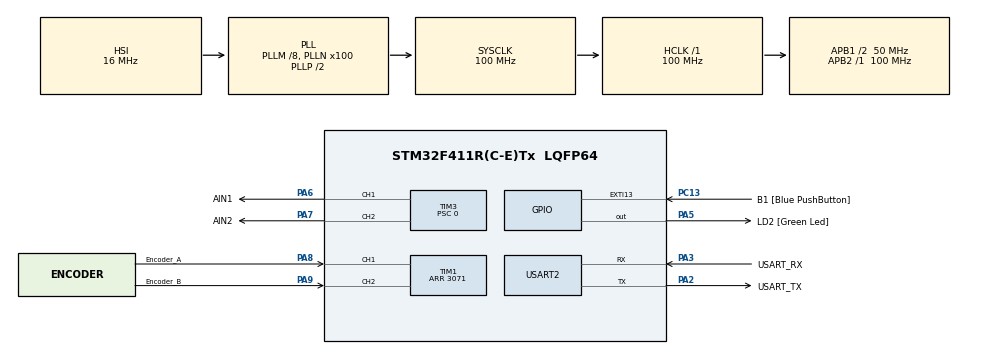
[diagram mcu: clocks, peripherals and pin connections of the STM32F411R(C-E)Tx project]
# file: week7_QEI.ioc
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Mcu.Family=STM32F4
RCC.CortexFreq_Value=100000000
PA14.GPIO_Label=TCK
TIM1.EncoderMode=TIM_ENCODERMODE_TI12
PA6.GPIO_Label=AIN1
RCC.SYSCLKSource=RCC_SYSCLKSOURCE_PLLCLK
ProjectManager.StackSize=0x400
PH0\ -\ OSC_IN.Signal=RCC_OSC_IN
RCC.HCLKFreq_Value=100000000
RCC.APB2TimFreq_Value=100000000
TIM3.Period=10000
RCC.AHBFreq_Value=100000000
TIM3.Channel-PWM\ Generation1\ CH1=TIM_CHANNEL_1
RCC.HSE_VALUE=8000000
PC13-ANTI_TAMP.Signal=GPXTI13
PC14-OSC32_IN.Mode=LSE-External-Oscillator
PA14.Mode=Serial_Wire
TIM3.Prescaler=0
NVIC.TIM2_IRQn=true\:0\:0\:false\:false\:true\:true\:true
PA8.Signal=S_TIM1_CH1
SH.S_TIM3_CH1.0=TIM3_CH1,PWM Generation1 CH1
RCC.FLatency-AdvancedSettings=FLASH_LATENCY_3
Mcu.Package=LQFP64
TIM2.Prescaler=99
PA6.Signal=S_TIM3_CH1
USART2.VirtualMode=VM_ASYNC
PA2.GPIO_Label=USART_TX
RCC.APB1TimFreq_Value=100000000
TIM3.Pulse-PWM\ Generation2\ CH2=5000
TIM1.Period=3071
VP_TIM3_VS_ClockSourceINT.Mode=Internal
PA3.Signal=USART2_RX
PB3.GPIO_Label=SWO
PC15-OSC32_OUT.Mode=LSE-External-Oscillator
PC13-ANTI_TAMP.GPIO_Label=B1 [Blue PushButton]
PA9.GPIO_Label=Encoder_B
PH1\ -\ OSC_OUT.Mode=HSE-External-Clock-Source
RCC.APB1CLKDivider=RCC_HCLK_DIV2
PC14-OSC32_IN.Signal=RCC_OSC32_IN
PA13.Signal=SYS_JTMS-SWDIO
PA3.Mode=Asynchronous
PH0\ -\ OSC_IN.Mode=HSE-External-Clock-Source
PA8.GPIO_Label=Encoder_A
TIM3.Pulse-PWM\ Generation1\ CH1=5000
SH.S_TIM1_CH1.0=TIM1_CH1,Encoder_Interface
ProjectManager.TargetToolchain=STM32CubeIDE
PA9.Signal=S_TIM1_CH2
PC15-OSC32_OUT.Signal=RCC_OSC32_OUT
PA5.Signal=GPIO_Output
SH.S_TIM3_CH2.0=TIM3_CH2,PWM Generation2 CH2
PH1\ -\ OSC_OUT.Signal=RCC_OSC_OUT
board=NUCLEO-F411RE
RCC.VCOOutputFreq_Value=200000000
RCC.APB2Freq_Value=100000000
SH.S_TIM1_CH2.0=TIM1_CH2,Encoder_Interface
VP_TIM2_VS_ClockSourceINT.Mode=Internal
PA13.Mode=Serial_Wire
Mcu.Name=STM32F411R(C-E)Tx
PA13.GPIO_Label=TMS
PA2.Signal=USART2_TX
RCC.48MHZClocksFreq_Value=50000000
PB3.Signal=SYS_JTDO-SWO
RCC.SYSCLKFreq_VALUE=100000000
PA7.GPIO_Label=AIN2
PA5.GPIO_Label=LD2 [Green Led]
PC13-ANTI_TAMP.GPIO_ModeDefaultEXTI=GPIO_MODE_IT_FALLING
PA14.Signal=SYS_JTCK-SWCLK
ProjectManager.HeapSize=0x200
RCC.HSI_VALUE=16000000
NVIC.PriorityGroup=NVIC_PRIORITYGROUP_0
TIM3.Channel-PWM\ Generation2\ CH2=TIM_CHANNEL_2
RCC.PLLM=8
RCC.PLLN=100
PA2.Mode=Asynchronous
RCC.APB1Freq_Value=50000000
PA3.GPIO_Label=USART_RX
PA7.Signal=S_TIM3_CH2

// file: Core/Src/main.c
/* USER CODE BEGIN Header */
/**
 ******************************************************************************
 * @file           : main.c
 * @brief          : Main program body
 ******************************************************************************
 * @attention
 *
 * <h2><center>&copy; Copyright (c) 2021 STMicroelectronics.
 * All rights reserved.</center></h2>
 *
 * This software component is licensed by ST under BSD 3-Clause license,
 * the "License"; You may not use this file except in compliance with the
 * License. You may obtain a copy of the License at:
 *                        opensource.org/licenses/BSD-3-Clause
 *
 ******************************************************************************
 */
/* USER CODE END Header */
#include "main.h"

TIM_HandleTypeDef htim1;
TIM_HandleTypeDef htim2;
TIM_HandleTypeDef htim3;

UART_HandleTypeDef huart2;

/* USER CODE BEGIN PV */
uint64_t _micros = 0;
float EncoderVel = 0;  // pulse per sec
uint64_t TimeOutputLoop = 0;
float PulsePerRound = 3072;

//control
float Error = 0;
float WantedRPM = 0;
float Kp = 0;  //50
float Ki = 0;  //0.2
float Kd = 0;  //5
float dt = 0.001;
float OutputRPM = 0;
int16_t PWMOut = 10000;
float Integral = 0;	   //sum of error
float Diff = 0;        //error difference
float Prev_Error = 0;  //last error

/* USER CODE END PV */

void SystemClock_Config(void);
static void MX_GPIO_Init(void);
static void MX_USART2_UART_Init(void);
static void MX_TIM1_Init(void);
static void MX_TIM2_Init(void);
static void MX_TIM3_Init(void);
/* USER CODE BEGIN PFP */
uint64_t micros();
float EncoderVelocity_Update();

/* USER CODE END PFP */

int main(void)
{

  /* MCU Configuration--------------------------------------------------------*/

  /* Reset of all peripherals, Initializes the Flash interface and the Systick. */
  HAL_Init();

  /* Configure the system clock */
  SystemClock_Config();

  /* Initialize all configured peripherals */
  MX_GPIO_Init();
  MX_USART2_UART_Init();
  MX_TIM1_Init();
  MX_TIM2_Init();
  MX_TIM3_Init();
  /* USER CODE BEGIN 2 */
	HAL_TIM_Base_Start_IT(&htim2);
	HAL_TIM_Encoder_Start(&htim1, TIM_CHANNEL_ALL);
	//Start TIM3
	HAL_TIM_Base_Start(&htim3);
	HAL_TIM_PWM_Start(&htim3, TIM_CHANNEL_1);  // start AIN1
	HAL_TIM_PWM_Start(&htim3, TIM_CHANNEL_2);  // start AIN2

  /* USER CODE END 2 */

  /* Infinite loop */
	while (1)
	{

    /* USER CODE BEGIN 3 */

	if (micros() - TimeOutputLoop >= 1000)//uS
		{

			TimeOutputLoop = micros();

			EncoderVel = (EncoderVel*99 + EncoderVelocity_Update()) / 100.0;
			OutputRPM = (EncoderVel*60)/PulsePerRound;

			Error = WantedRPM - OutputRPM;
			Integral = Integral + Error;
			Diff = Error - Prev_Error;
			Prev_Error = Error;

			PWMOut = (Kp*Error) + (Ki*Integral) + (Kd*Diff);

			if (PWMOut < 0)
			{
				__HAL_TIM_SET_COMPARE(&htim3, TIM_CHANNEL_1, 0);        //AIN1
				__HAL_TIM_SET_COMPARE(&htim3, TIM_CHANNEL_2, -PWMOut);  //AIN2
			}

			else if (PWMOut >= 0)
			{
				__HAL_TIM_SET_COMPARE(&htim3, TIM_CHANNEL_1, PWMOut);  //AIN1
				__HAL_TIM_SET_COMPARE(&htim3, TIM_CHANNEL_2, 0);       //AIN2
			}
//   */

		}
//  */

	}
  /* USER CODE END 3 */
}

void SystemClock_Config(void)
{
  RCC_OscInitTypeDef RCC_OscInitStruct = {0};
  RCC_ClkInitTypeDef RCC_ClkInitStruct = {0};

  /** Configure the main internal regulator output voltage
  */
  __HAL_RCC_PWR_CLK_ENABLE();
  __HAL_PWR_VOLTAGESCALING_CONFIG(PWR_REGULATOR_VOLTAGE_SCALE1);
  /** Initializes the RCC Oscillators according to the specified parameters
  * in the RCC_OscInitTypeDef structure.
  */
  RCC_OscInitStruct.OscillatorType = RCC_OSCILLATORTYPE_HSI;
  RCC_OscInitStruct.HSIState = RCC_HSI_ON;
  RCC_OscInitStruct.HSICalibrationValue = RCC_HSICALIBRATION_DEFAULT;
  RCC_OscInitStruct.PLL.PLLState = RCC_PLL_ON;
  RCC_OscInitStruct.PLL.PLLSource = RCC_PLLSOURCE_HSI;
  RCC_OscInitStruct.PLL.PLLM = 8;
  RCC_OscInitStruct.PLL.PLLN = 100;
  RCC_OscInitStruct.PLL.PLLP = RCC_PLLP_DIV2;
  RCC_OscInitStruct.PLL.PLLQ = 4;
  if (HAL_RCC_OscConfig(&RCC_OscInitStruct) != HAL_OK)
  {
    Error_Handler();
  }
  /** Initializes the CPU, AHB and APB buses clocks
  */
  RCC_ClkInitStruct.ClockType = RCC_CLOCKTYPE_HCLK|RCC_CLOCKTYPE_SYSCLK
                              |RCC_CLOCKTYPE_PCLK1|RCC_CLOCKTYPE_PCLK2;
  RCC_ClkInitStruct.SYSCLKSource = RCC_SYSCLKSOURCE_PLLCLK;
  RCC_ClkInitStruct.AHBCLKDivider = RCC_SYSCLK_DIV1;
  RCC_ClkInitStruct.APB1CLKDivider = RCC_HCLK_DIV2;
  RCC_ClkInitStruct.APB2CLKDivider = RCC_HCLK_DIV1;

  if (HAL_RCC_ClockConfig(&RCC_ClkInitStruct, FLASH_LATENCY_3) != HAL_OK)
  {
    Error_Handler();
  }
}

static void MX_TIM1_Init(void)
{

  TIM_Encoder_InitTypeDef sConfig = {0};
  TIM_MasterConfigTypeDef sMasterConfig = {0};

  htim1.Instance = TIM1;
  htim1.Init.Prescaler = 0;
  htim1.Init.CounterMode = TIM_COUNTERMODE_UP;
  htim1.Init.Period = 3071;
  htim1.Init.ClockDivision = TIM_CLOCKDIVISION_DIV1;
  htim1.Init.RepetitionCounter = 0;
  htim1.Init.AutoReloadPreload = TIM_AUTORELOAD_PRELOAD_DISABLE;
  sConfig.EncoderMode = TIM_ENCODERMODE_TI12;
  sConfig.IC1Polarity = TIM_ICPOLARITY_RISING;
  sConfig.IC1Selection = TIM_ICSELECTION_DIRECTTI;
  sConfig.IC1Prescaler = TIM_ICPSC_DIV1;
  sConfig.IC1Filter = 0;
  sConfig.IC2Polarity = TIM_ICPOLARITY_RISING;
  sConfig.IC2Selection = TIM_ICSELECTION_DIRECTTI;
  sConfig.IC2Prescaler = TIM_ICPSC_DIV1;
  sConfig.IC2Filter = 0;
  if (HAL_TIM_Encoder_Init(&htim1, &sConfig) != HAL_OK)
  {
    Error_Handler();
  }
  sMasterConfig.MasterOutputTrigger = TIM_TRGO_RESET;
  sMasterConfig.MasterSlaveMode = TIM_MASTERSLAVEMODE_DISABLE;
  if (HAL_TIMEx_MasterConfigSynchronization(&htim1, &sMasterConfig) != HAL_OK)
  {
    Error_Handler();
  }

}

static void MX_TIM2_Init(void)
{

  TIM_ClockConfigTypeDef sClockSourceConfig = {0};
  TIM_MasterConfigTypeDef sMasterConfig = {0};

  htim2.Instance = TIM2;
  htim2.Init.Prescaler = 99;
  htim2.Init.CounterMode = TIM_COUNTERMODE_UP;
  htim2.Init.Period = 4294967295;
  htim2.Init.ClockDivision = TIM_CLOCKDIVISION_DIV1;
  htim2.Init.AutoReloadPreload = TIM_AUTORELOAD_PRELOAD_DISABLE;
  if (HAL_TIM_Base_Init(&htim2) != HAL_OK)
  {
    Error_Handler();
  }
  sClockSourceConfig.ClockSource = TIM_CLOCKSOURCE_INTERNAL;
  if (HAL_TIM_ConfigClockSource(&htim2, &sClockSourceConfig) != HAL_OK)
  {
    Error_Handler();
  }
  sMasterConfig.MasterOutputTrigger = TIM_TRGO_RESET;
  sMasterConfig.MasterSlaveMode = TIM_MASTERSLAVEMODE_DISABLE;
  if (HAL_TIMEx_MasterConfigSynchronization(&htim2, &sMasterConfig) != HAL_OK)
  {
    Error_Handler();
  }

}

static void MX_TIM3_Init(void)
{

  TIM_ClockConfigTypeDef sClockSourceConfig = {0};
  TIM_MasterConfigTypeDef sMasterConfig = {0};
  TIM_OC_InitTypeDef sConfigOC = {0};

  htim3.Instance = TIM3;
  htim3.Init.Prescaler = 0;
  htim3.Init.CounterMode = TIM_COUNTERMODE_UP;
  htim3.Init.Period = 10000;
  htim3.Init.ClockDivision = TIM_CLOCKDIVISION_DIV1;
  htim3.Init.AutoReloadPreload = TIM_AUTORELOAD_PRELOAD_DISABLE;
  if (HAL_TIM_Base_Init(&htim3) != HAL_OK)
  {
    Error_Handler();
  }
  sClockSourceConfig.ClockSource = TIM_CLOCKSOURCE_INTERNAL;
  if (HAL_TIM_ConfigClockSource(&htim3, &sClockSourceConfig) != HAL_OK)
  {
    Error_Handler();
  }
  if (HAL_TIM_PWM_Init(&htim3) != HAL_OK)
  {
    Error_Handler();
  }
  sMasterConfig.MasterOutputTrigger = TIM_TRGO_RESET;
  sMasterConfig.MasterSlaveMode = TIM_MASTERSLAVEMODE_DISABLE;
  if (HAL_TIMEx_MasterConfigSynchronization(&htim3, &sMasterConfig) != HAL_OK)
  {
    Error_Handler();
  }
  sConfigOC.OCMode = TIM_OCMODE_PWM1;
  sConfigOC.Pulse = 5000;
  sConfigOC.OCPolarity = TIM_OCPOLARITY_HIGH;
  sConfigOC.OCFastMode = TIM_OCFAST_DISABLE;
  if (HAL_TIM_PWM_ConfigChannel(&htim3, &sConfigOC, TIM_CHANNEL_1) != HAL_OK)
  {
    Error_Handler();
  }
  if (HAL_TIM_PWM_ConfigChannel(&htim3, &sConfigOC, TIM_CHANNEL_2) != HAL_OK)
  {
    Error_Handler();
  }
  HAL_TIM_MspPostInit(&htim3);

}

static void MX_USART2_UART_Init(void)
{

  huart2.Instance = USART2;
  huart2.Init.BaudRate = 115200;
  huart2.Init.WordLength = UART_WORDLENGTH_8B;
  huart2.Init.StopBits = UART_STOPBITS_1;
  huart2.Init.Parity = UART_PARITY_NONE;
  huart2.Init.Mode = UART_MODE_TX_RX;
  huart2.Init.HwFlowCtl = UART_HWCONTROL_NONE;
  huart2.Init.OverSampling = UART_OVERSAMPLING_16;
  if (HAL_UART_Init(&huart2) != HAL_OK)
  {
    Error_Handler();
  }

}

static void MX_GPIO_Init(void)
{
  GPIO_InitTypeDef GPIO_InitStruct = {0};

  /* GPIO Ports Clock Enable */
  __HAL_RCC_GPIOC_CLK_ENABLE();
  __HAL_RCC_GPIOH_CLK_ENABLE();
  __HAL_RCC_GPIOA_CLK_ENABLE();
  __HAL_RCC_GPIOB_CLK_ENABLE();

  /*Configure GPIO pin Output Level */
  HAL_GPIO_WritePin(LD2_GPIO_Port, LD2_Pin, GPIO_PIN_RESET);

  /*Configure GPIO pin : B1_Pin */
  GPIO_InitStruct.Pin = B1_Pin;
  GPIO_InitStruct.Mode = GPIO_MODE_IT_FALLING;
  GPIO_InitStruct.Pull = GPIO_NOPULL;
  HAL_GPIO_Init(B1_GPIO_Port, &GPIO_InitStruct);

  /*Configure GPIO pin : LD2_Pin */
  GPIO_InitStruct.Pin = LD2_Pin;
  GPIO_InitStruct.Mode = GPIO_MODE_OUTPUT_PP;
  GPIO_InitStruct.Pull = GPIO_NOPULL;
  GPIO_InitStruct.Speed = GPIO_SPEED_FREQ_LOW;
  HAL_GPIO_Init(LD2_GPIO_Port, &GPIO_InitStruct);

}

/* USER CODE BEGIN 4 */
#define  HTIM_ENCODER htim1
#define  MAX_SUBPOSITION_OVERFLOW 1536
#define  MAX_ENCODER_PERIOD 3072

float EncoderVelocity_Update()
{
	//Save Last state
	static uint32_t EncoderLastPosition = 0;
	static uint64_t EncoderLastTimestamp = 0;

	//read data
	uint32_t EncoderNowPosition = HTIM_ENCODER.Instance->CNT;
	uint64_t EncoderNowTimestamp = micros();

	int32_t EncoderPositionDiff;
	uint64_t EncoderTimeDiff;

	EncoderTimeDiff = EncoderNowTimestamp - EncoderLastTimestamp;
	EncoderPositionDiff = EncoderNowPosition - EncoderLastPosition;

	//compensate overflow and underflow
	if (EncoderPositionDiff >= MAX_SUBPOSITION_OVERFLOW)
	{
		EncoderPositionDiff -= MAX_ENCODER_PERIOD;
	}
	else if (-EncoderPositionDiff >= MAX_SUBPOSITION_OVERFLOW)
	{
		EncoderPositionDiff += MAX_ENCODER_PERIOD;
	}

	//Update Position and time
	EncoderLastPosition = EncoderNowPosition;
	EncoderLastTimestamp = EncoderNowTimestamp;

	//Calculate velocity
	//EncoderTimeDiff is in uS
	return (EncoderPositionDiff * 1000000) / (float) EncoderTimeDiff;

}

void HAL_TIM_PeriodElapsedCallback(TIM_HandleTypeDef *htim)
{
	if (htim == &htim2)
	{
		_micros += 4294967295;
	}
}
uint64_t micros()
{
	return _micros + htim2.Instance->CNT;
}
/* USER CODE END 4 */

void Error_Handler(void)
{
	__disable_irq();
	while (1)
	{
	}
}

/************************ (C) COPYRIGHT STMicroelectronics *****END OF FILE****/
